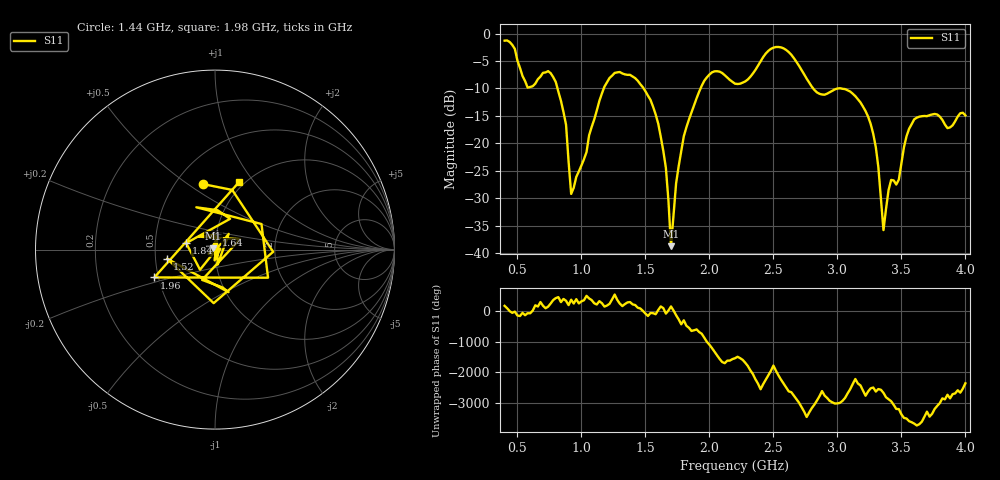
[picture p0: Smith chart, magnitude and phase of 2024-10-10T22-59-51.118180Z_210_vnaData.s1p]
! Created with skrf (http://scikit-rf.org).
# Hz S RI R 50.0
!freq ReS11 ImS11
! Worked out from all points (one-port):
!   181 points, 400 MHz to 4 GHz, reference 50 ohm
!   lowest |S11| = -38.7 dB at 1.7 GHz (marker M1), VSWR 1.02, Z = 49.1 + j0.723 ohm
!   |S11| at or under -10 dB: 813.3 MHz to 1.175 GHz (361.4 MHz wide, 36.4 % of centre); 1.486 GHz to 1.931 GHz (444.8 MHz wide, 26 % of centre); 3.028 GHz to end of sweep (the widest 3 of 4)
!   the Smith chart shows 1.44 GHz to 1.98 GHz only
!   S11 on the Smith chart (normalised r, x): 1.44 GHz: 0.67, +0.57; 1.52 GHz: 0.58, -0.06; 1.64 GHz: 1.00, +0.17; 1.84 GHz: 0.72, +0.05; 1.96 GHz: 0.48, -0.17; 1.98 GHz: 0.94, +0.84
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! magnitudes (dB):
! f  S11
! 400 MHz  -1.3
! 580 MHz  -9.8
! 760 MHz  -7.2
! 860 MHz  -14.3
! 920 MHz  -29.2
! 1.18 GHz  -9.7
! 1.3 GHz  -7.0
! 1.44 GHz  -8.6
! 1.52 GHz  -11.3
! 1.64 GHz  -21.4
! 1.66 GHz  -24.5
! 1.7 GHz  -38.7
! 1.76 GHz  -24.1
! 1.84 GHz  -15.7
! 1.96 GHz  -8.6
! 1.98 GHz  -8.0
! 2.2 GHz  -9.1
! 2.5 GHz  -2.6
! 2.66 GHz  -4.5
! 2.84 GHz  -10.7
! 3.1 GHz  -10.6
! 3.28 GHz  -18.3
! 3.32 GHz  -24.3
! 3.36 GHz  -35.8
! 3.4 GHz  -28.5
! 3.48 GHz  -26.6
! 3.56 GHz  -17.4
! 4 GHz  -14.9
